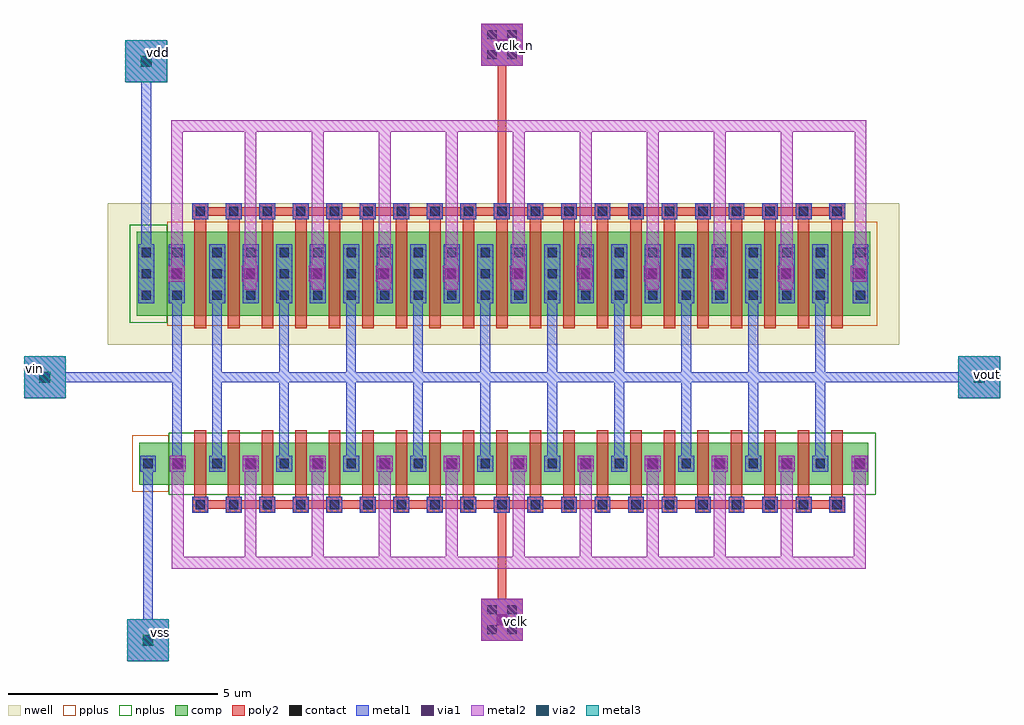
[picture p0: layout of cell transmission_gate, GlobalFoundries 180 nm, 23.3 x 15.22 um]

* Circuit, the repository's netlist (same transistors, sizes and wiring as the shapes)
** sch_path: /foss/designs/chipathon-2026-ti-adc/analog/blocks/transmission_gate/transmission_gate.sch
.subckt transmission_gate vdd vout vclk_n vclk vin vss
*.PININFO vclk:I vin:I vdd:B vss:B vout:O vclk_n:I
M1 vout vclk vin vss nfet_03v3 L=0.28u W=20u nf=20
M2 vout vclk_n vin vdd pfet_03v3 L=0.28u W=40u nf=40
.ends

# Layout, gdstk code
from math import pi, radians
import gdstk
lib = gdstk.Library(unit=1e-6, precision=5e-09)
def R(c, l, rs):  # rectangles x0, y0, x1, y1
    for r in rs: c.add(gdstk.rectangle(r[:2], r[2:], *l))
def A(c, l, x, y, w, h, nx, ny, dx, dy):  # array of equal rectangles
    R(c, l, [(x+i*dx, y+j*dy, x+i*dx+w, y+j*dy+h) for i in range(nx) for j in range(ny)])
nwell = (21, 0)
comp = (22, 0)
poly2 = (30, 0)
pplus = (31, 0)
nplus = (32, 0)
contact = (33, 0)
metal1 = (34, 0)
via1 = (35, 0)
metal2 = (36, 0)
via2 = (38, 0)
metal3 = (42, 0)

pfet = lib.new_cell('pfet')
R(pfet, nwell, [(-1.15,-0.69,17.74,2.69)])
R(pfet, comp, [(-0.46,0,0,2), (0,0,15.86,2), (15.86,0,16.32,2), (16.32,0,17.05,2)])
A(pfet, poly2, 0.14, -0.68, 0.38, 0.38, 20, 1, 0.8, 0)
A(pfet, poly2, 0.19, -0.3, 0.28, 2.6, 20, 1, 0.8, 0)
R(pfet, pplus, [(-0.63,-0.24,16.32,2.24)])
R(pfet, nplus, [(16.32,-0.17,17.22,2.17)])
A(pfet, contact, 0.22, -0.6, 0.22, 0.22, 20, 1, 0.8, 0)
A(pfet, contact, -0.34, 0.38, 0.22, 0.22, 1, 3, 0, 0.51)
A(pfet, contact, 0.62, 0.38, 0.22, 0.22, 19, 3, 0.8, 0.51)
A(pfet, contact, 15.98, 0.38, 0.22, 0.22, 1, 3, 0, 0.51)
A(pfet, contact, 16.71, 0.38, 0.22, 0.22, 1, 3, 0, 0.51)
A(pfet, metal1, 0.14, -0.68, 0.38, 0.38, 20, 1, 0.8, 0)
A(pfet, metal1, 0.54, 0.3, 0.38, 1.4, 19, 1, 0.8, 0)
R(pfet, metal1, [(-0.42,0.3,-0.04,1.7), (15.9,0.3,16.28,1.7), (16.63,0.3,17.01,1.7)])

via_dev = lib.new_cell('via_dev')
R(via_dev, poly2, [(0,0,1,1)])
R(via_dev, contact, [(0.15,0.15,0.37,0.37), (0.63,0.15,0.85,0.37), (0.15,0.63,0.37,0.85), (0.63,0.63,0.85,0.85)])
R(via_dev, metal1, [(0,0,1,1)])
R(via_dev, via1, [(0.37,0.37,0.63,0.63)])
R(via_dev, metal2, [(0,0,1,1)])

via_dev_3 = lib.new_cell('via_dev$3')
R(via_dev_3, metal1, [(0,0,1,1)])
R(via_dev_3, via1, [(0.37,0.37,0.63,0.63)])
R(via_dev_3, metal2, [(0,0,1,1)])
R(via_dev_3, via2, [(0.37,0.37,0.63,0.63)])
R(via_dev_3, metal3, [(0,0,1,1)])

nfet = lib.new_cell('nfet')
R(nfet, comp, [(-0.42,0,0,1), (0,0,15.86,1), (15.86,0,16.28,1), (16.28,0,16.99,1)])
A(nfet, poly2, 0.19, -0.3, 0.28, 1.6, 20, 1, 0.8, 0)
A(nfet, poly2, 0.15, 1.3, 0.36, 0.36, 20, 1, 0.8, 0)
R(nfet, pplus, [(16.28,-0.17,17.16,1.17)])
R(nfet, nplus, [(-0.59,-0.24,16.28,1.24)])
A(nfet, contact, 0.62, 0.39, 0.22, 0.22, 19, 1, 0.8, 0)
A(nfet, contact, 0.22, 1.37, 0.22, 0.22, 20, 1, 0.8, 0)
R(nfet, contact, [(-0.32,0.39,-0.1,0.61), (15.96,0.39,16.18,0.61), (16.67,0.39,16.89,0.61)])
A(nfet, metal1, 0.54, 0.31, 0.38, 0.38, 19, 1, 0.8, 0)
A(nfet, metal1, 0.14, 1.29, 0.38, 0.38, 20, 1, 0.8, 0)
R(nfet, metal1, [(-0.4,0.31,-0.02,0.69), (15.88,0.31,16.26,0.69), (16.59,0.31,16.97,0.69)])

transmission_gate = lib.new_cell('transmission_gate')
R(transmission_gate, poly2, [(10.76,-6.21,11.12,-5.85)])
R(transmission_gate, via1, [(3.07,-5.18,3.33,-4.92), (3.07,-5.18,3.33,-4.92), (3.07,-5.18,3.33,-4.92), (3.07,-5.18,3.33,-4.92), (4.81,-5.18,5.07,-4.92), (4.81,-5.18,5.07,-4.92), (4.81,-5.18,5.07,-4.92), (4.81,-5.18,5.07,-4.92), (4.81,-5.18,5.07,-4.92), (4.81,-5.18,5.07,-4.92), (4.81,-5.18,5.07,-4.92), (4.81,-5.18,5.07,-4.92), (4.81,-5.18,5.07,-4.92), (4.81,-5.18,5.07,-4.92), (4.81,-5.18,5.07,-4.92), (4.81,-5.18,5.07,-4.92), (4.81,-5.18,5.07,-4.92), (4.81,-5.18,5.07,-4.92), (4.81,-5.18,5.07,-4.92), (4.81,-5.18,5.07,-4.92), (4.81,-5.18,5.07,-4.92), (4.81,-5.18,5.07,-4.92), (4.81,-5.18,5.07,-4.92), (4.81,-5.18,5.07,-4.92), (4.81,-5.18,5.07,-4.92), (4.81,-5.18,5.07,-4.92), (4.81,-5.18,5.07,-4.92), (4.81,-5.18,5.07,-4.92), (4.81,-5.18,5.07,-4.92), (4.81,-5.18,5.07,-4.92), (4.81,-5.18,5.07,-4.92), (4.81,-5.18,5.07,-4.92), (4.81,-5.18,5.07,-4.92), (4.81,-5.18,5.07,-4.92), (4.81,-5.18,5.07,-4.92), (4.81,-5.18,5.07,-4.92), (4.81,-5.18,5.07,-4.92), (4.81,-5.18,5.07,-4.92), (4.81,-5.18,5.07,-4.92), (4.81,-5.18,5.07,-4.92), (4.81,-5.18,5.07,-4.92), (4.81,-5.18,5.07,-4.92), (4.81,-5.18,5.07,-4.92), (4.81,-5.18,5.07,-4.92), (4.81,-5.18,5.07,-4.92), (4.81,-5.18,5.07,-4.92), (4.81,-5.18,5.07,-4.92), (4.81,-5.18,5.07,-4.92), (4.81,-5.18,5.07,-4.92), (4.81,-5.18,5.07,-4.92), (4.81,-5.18,5.07,-4.92), (4.81,-5.18,5.07,-4.92), (6.41,-5.18,6.67,-4.92), (6.41,-5.18,6.67,-4.92), (6.41,-5.18,6.67,-4.92), (6.41,-5.18,6.67,-4.92), (6.41,-5.18,6.67,-4.92), (6.41,-5.18,6.67,-4.92), (6.41,-5.18,6.67,-4.92), (6.41,-5.18,6.67,-4.92), (6.41,-5.18,6.67,-4.92), (6.41,-5.18,6.67,-4.92), (6.41,-5.18,6.67,-4.92), (6.41,-5.18,6.67,-4.92), (6.41,-5.18,6.67,-4.92), (6.41,-5.18,6.67,-4.92), (6.41,-5.18,6.67,-4.92), (6.41,-5.18,6.67,-4.92), (6.41,-5.18,6.67,-4.92), (6.41,-5.18,6.67,-4.92), (6.41,-5.18,6.67,-4.92), (6.41,-5.18,6.67,-4.92), (6.41,-5.18,6.67,-4.92), (6.41,-5.18,6.67,-4.92), (6.41,-5.18,6.67,-4.92), (6.41,-5.18,6.67,-4.92), (8.01,-5.18,8.27,-4.92), (8.01,-5.18,8.27,-4.92), (8.01,-5.18,8.27,-4.92), (8.01,-5.18,8.27,-4.92), (8.01,-5.18,8.27,-4.92), (8.01,-5.18,8.27,-4.92), (8.01,-5.18,8.27,-4.92), (8.01,-5.18,8.27,-4.92), (8.01,-5.18,8.27,-4.92), (8.01,-5.18,8.27,-4.92), (8.01,-5.18,8.27,-4.92), (8.01,-5.18,8.27,-4.92), (8.01,-5.18,8.27,-4.92), (8.01,-5.18,8.27,-4.92), (8.01,-5.18,8.27,-4.92), (8.01,-5.18,8.27,-4.92), (8.01,-5.18,8.27,-4.92), (8.01,-5.18,8.27,-4.92), (8.01,-5.18,8.27,-4.92), (8.01,-5.18,8.27,-4.92), (8.01,-5.18,8.27,-4.92), (8.01,-5.18,8.27,-4.92), (8.01,-5.18,8.27,-4.92), (8.01,-5.18,8.27,-4.92), (9.61,-5.18,9.87,-4.92), (9.61,-5.18,9.87,-4.92), (9.61,-5.18,9.87,-4.92), (9.61,-5.18,9.87,-4.92), (9.61,-5.18,9.87,-4.92), (9.61,-5.18,9.87,-4.92), (9.61,-5.18,9.87,-4.92), (9.61,-5.18,9.87,-4.92), (9.61,-5.18,9.87,-4.92), (9.61,-5.18,9.87,-4.92), (9.61,-5.18,9.87,-4.92), (9.61,-5.18,9.87,-4.92), (11.21,-5.18,11.47,-4.92), (11.21,-5.18,11.47,-4.92), (11.21,-5.18,11.47,-4.92), (11.21,-5.18,11.47,-4.92), (11.21,-5.18,11.47,-4.92), (11.21,-5.18,11.47,-4.92), (11.21,-5.18,11.47,-4.92), (11.21,-5.18,11.47,-4.92), (11.21,-5.18,11.47,-4.92), (11.21,-5.18,11.47,-4.92), (11.21,-5.18,11.47,-4.92), (11.21,-5.18,11.47,-4.92), (11.21,-5.18,11.47,-4.92), (11.21,-5.18,11.47,-4.92), (11.21,-5.18,11.47,-4.92), (11.21,-5.18,11.47,-4.92), (11.21,-5.18,11.47,-4.92), (11.21,-5.18,11.47,-4.92), (11.21,-5.18,11.47,-4.92), (11.21,-5.18,11.47,-4.92), (11.21,-5.18,11.47,-4.92), (11.21,-5.18,11.47,-4.92), (11.21,-5.18,11.47,-4.92), (11.21,-5.18,11.47,-4.92), (11.21,-5.18,11.47,-4.92), (11.21,-5.18,11.47,-4.92), (11.21,-5.18,11.47,-4.92), (11.21,-5.18,11.47,-4.92), (11.21,-5.18,11.47,-4.92), (11.21,-5.18,11.47,-4.92), (11.21,-5.18,11.47,-4.92), (11.21,-5.18,11.47,-4.92), (11.21,-5.18,11.47,-4.92), (11.21,-5.18,11.47,-4.92), (11.21,-5.18,11.47,-4.92), (11.21,-5.18,11.47,-4.92), (11.21,-5.18,11.47,-4.92), (11.21,-5.18,11.47,-4.92), (11.21,-5.18,11.47,-4.92), (11.21,-5.18,11.47,-4.92), (11.21,-5.18,11.47,-4.92), (11.21,-5.18,11.47,-4.92), (11.21,-5.18,11.47,-4.92), (11.21,-5.18,11.47,-4.92), (11.21,-5.18,11.47,-4.92), (11.21,-5.18,11.47,-4.92), (11.21,-5.18,11.47,-4.92), (11.21,-5.18,11.47,-4.92), (12.81,-5.18,13.07,-4.92), (12.81,-5.18,13.07,-4.92), (12.81,-5.18,13.07,-4.92), (12.81,-5.18,13.07,-4.92), (12.81,-5.18,13.07,-4.92), (12.81,-5.18,13.07,-4.92), (12.81,-5.18,13.07,-4.92), (12.81,-5.18,13.07,-4.92), (12.81,-5.18,13.07,-4.92), (12.81,-5.18,13.07,-4.92), (12.81,-5.18,13.07,-4.92), (12.81,-5.18,13.07,-4.92), (12.81,-5.18,13.07,-4.92), (12.81,-5.18,13.07,-4.92), (12.81,-5.18,13.07,-4.92), (12.81,-5.18,13.07,-4.92), (12.81,-5.18,13.07,-4.92), (12.81,-5.18,13.07,-4.92), (12.81,-5.18,13.07,-4.92), (12.81,-5.18,13.07,-4.92), (12.81,-5.18,13.07,-4.92), (12.81,-5.18,13.07,-4.92), (12.81,-5.18,13.07,-4.92), (12.81,-5.18,13.07,-4.92), (14.41,-5.18,14.67,-4.92), (14.41,-5.18,14.67,-4.92), (14.41,-5.18,14.67,-4.92), (14.41,-5.18,14.67,-4.92), (14.41,-5.18,14.67,-4.92), (14.41,-5.18,14.67,-4.92), (14.41,-5.18,14.67,-4.92), (14.41,-5.18,14.67,-4.92), (14.41,-5.18,14.67,-4.92), (14.41,-5.18,14.67,-4.92), (14.41,-5.18,14.67,-4.92), (14.41,-5.18,14.67,-4.92), (14.41,-5.18,14.67,-4.92), (14.41,-5.18,14.67,-4.92), (14.41,-5.18,14.67,-4.92), (14.41,-5.18,14.67,-4.92), (14.41,-5.18,14.67,-4.92), (14.41,-5.18,14.67,-4.92), (14.41,-5.18,14.67,-4.92), (14.41,-5.18,14.67,-4.92), (14.41,-5.18,14.67,-4.92), (14.41,-5.18,14.67,-4.92), (14.41,-5.18,14.67,-4.92), (14.41,-5.18,14.67,-4.92), (14.41,-5.18,14.67,-4.92), (14.41,-5.18,14.67,-4.92), (14.41,-5.18,14.67,-4.92), (14.41,-5.18,14.67,-4.92), (14.41,-5.18,14.67,-4.92), (14.41,-5.18,14.67,-4.92), (14.41,-5.18,14.67,-4.92), (14.41,-5.18,14.67,-4.92), (14.41,-5.18,14.67,-4.92), (14.41,-5.18,14.67,-4.92), (14.41,-5.18,14.67,-4.92), (14.41,-5.18,14.67,-4.92), (14.41,-5.18,14.67,-4.92), (14.41,-5.18,14.67,-4.92), (14.41,-5.18,14.67,-4.92), (14.41,-5.18,14.67,-4.92), (14.41,-5.18,14.67,-4.92), (14.41,-5.18,14.67,-4.92), (14.41,-5.18,14.67,-4.92), (14.41,-5.18,14.67,-4.92), (14.41,-5.18,14.67,-4.92), (14.41,-5.18,14.67,-4.92), (14.41,-5.18,14.67,-4.92), (14.41,-5.18,14.67,-4.92), (16.01,-5.18,16.27,-4.92), (16.01,-5.18,16.27,-4.92), (16.01,-5.18,16.27,-4.92), (16.01,-5.18,16.27,-4.92), (16.01,-5.18,16.27,-4.92), (16.01,-5.18,16.27,-4.92), (16.01,-5.18,16.27,-4.92), (16.01,-5.18,16.27,-4.92), (16.01,-5.18,16.27,-4.92), (16.01,-5.18,16.27,-4.92), (16.01,-5.18,16.27,-4.92), (16.01,-5.18,16.27,-4.92), (16.01,-5.18,16.27,-4.92), (16.01,-5.18,16.27,-4.92), (16.01,-5.18,16.27,-4.92), (16.01,-5.18,16.27,-4.92), (16.01,-5.18,16.27,-4.92), (16.01,-5.18,16.27,-4.92), (16.01,-5.18,16.27,-4.92), (16.01,-5.18,16.27,-4.92), (16.01,-5.18,16.27,-4.92), (16.01,-5.18,16.27,-4.92), (16.01,-5.18,16.27,-4.92), (16.01,-5.18,16.27,-4.92), (17.61,-5.18,17.87,-4.92), (17.61,-5.18,17.87,-4.92), (17.61,-5.18,17.87,-4.92), (17.61,-5.18,17.87,-4.92), (17.61,-5.18,17.87,-4.92), (17.61,-5.18,17.87,-4.92), (17.61,-5.18,17.87,-4.92), (17.61,-5.18,17.87,-4.92), (17.61,-5.18,17.87,-4.92), (17.61,-5.18,17.87,-4.92), (17.61,-5.18,17.87,-4.92), (17.61,-5.18,17.87,-4.92), (17.61,-5.18,17.87,-4.92), (17.61,-5.18,17.87,-4.92), (17.61,-5.18,17.87,-4.92), (17.61,-5.18,17.87,-4.92), (17.61,-5.18,17.87,-4.92), (17.61,-5.18,17.87,-4.92), (17.61,-5.18,17.87,-4.92), (17.61,-5.18,17.87,-4.92), (17.61,-5.18,17.87,-4.92), (17.61,-5.18,17.87,-4.92), (17.61,-5.18,17.87,-4.92), (17.61,-5.18,17.87,-4.92), (19.35,-5.18,19.61,-4.92), (19.35,-5.18,19.61,-4.92), (19.35,-5.18,19.61,-4.92), (19.35,-5.18,19.61,-4.92), (19.35,-5.18,19.61,-4.92), (19.35,-5.18,19.61,-4.92), (19.35,-5.18,19.61,-4.92), (19.35,-5.18,19.61,-4.92), (19.35,-5.18,19.61,-4.92), (19.35,-5.18,19.61,-4.92), (19.35,-5.18,19.61,-4.92), (19.35,-5.18,19.61,-4.92), (3.05,-0.65,3.31,-0.39), (3.05,-0.65,3.31,-0.39), (4.79,-0.65,5.05,-0.39), (4.79,-0.65,5.05,-0.39), (4.79,-0.65,5.05,-0.39), (4.79,-0.65,5.05,-0.39), (4.79,-0.65,5.05,-0.39), (4.79,-0.65,5.05,-0.39), (4.79,-0.65,5.05,-0.39), (4.79,-0.65,5.05,-0.39), (4.79,-0.65,5.05,-0.39), (4.79,-0.65,5.05,-0.39), (4.79,-0.65,5.05,-0.39), (4.79,-0.65,5.05,-0.39), (4.79,-0.65,5.05,-0.39), (4.79,-0.65,5.05,-0.39), (4.79,-0.65,5.05,-0.39), (4.79,-0.65,5.05,-0.39), (4.79,-0.65,5.05,-0.39), (4.79,-0.65,5.05,-0.39), (4.79,-0.65,5.05,-0.39), (4.79,-0.65,5.05,-0.39), (4.79,-0.65,5.05,-0.39), (4.79,-0.65,5.05,-0.39), (4.79,-0.65,5.05,-0.39), (4.79,-0.65,5.05,-0.39), (6.39,-0.65,6.65,-0.39), (6.39,-0.65,6.65,-0.39), (6.39,-0.65,6.65,-0.39), (6.39,-0.65,6.65,-0.39), (6.39,-0.65,6.65,-0.39), (6.39,-0.65,6.65,-0.39), (6.39,-0.65,6.65,-0.39), (6.39,-0.65,6.65,-0.39), (6.39,-0.65,6.65,-0.39), (6.39,-0.65,6.65,-0.39), (6.39,-0.65,6.65,-0.39), (6.39,-0.65,6.65,-0.39), (7.99,-0.65,8.25,-0.39), (7.99,-0.65,8.25,-0.39), (7.99,-0.65,8.25,-0.39), (7.99,-0.65,8.25,-0.39), (7.99,-0.65,8.25,-0.39), (7.99,-0.65,8.25,-0.39), (7.99,-0.65,8.25,-0.39), (7.99,-0.65,8.25,-0.39), (7.99,-0.65,8.25,-0.39), (7.99,-0.65,8.25,-0.39), (7.99,-0.65,8.25,-0.39), (7.99,-0.65,8.25,-0.39), (9.59,-0.65,9.85,-0.39), (9.59,-0.65,9.85,-0.39), (9.59,-0.65,9.85,-0.39), (9.59,-0.65,9.85,-0.39), (9.59,-0.65,9.85,-0.39), (9.59,-0.65,9.85,-0.39), (11.19,-0.65,11.45,-0.39), (11.19,-0.65,11.45,-0.39), (11.19,-0.65,11.45,-0.39), (11.19,-0.65,11.45,-0.39), (11.19,-0.65,11.45,-0.39), (11.19,-0.65,11.45,-0.39), (11.19,-0.65,11.45,-0.39), (11.19,-0.65,11.45,-0.39), (11.19,-0.65,11.45,-0.39), (11.19,-0.65,11.45,-0.39), (11.19,-0.65,11.45,-0.39), (11.19,-0.65,11.45,-0.39), (11.19,-0.65,11.45,-0.39), (11.19,-0.65,11.45,-0.39), (11.19,-0.65,11.45,-0.39), (11.19,-0.65,11.45,-0.39), (11.19,-0.65,11.45,-0.39), (11.19,-0.65,11.45,-0.39), (11.19,-0.65,11.45,-0.39), (11.19,-0.65,11.45,-0.39), (11.19,-0.65,11.45,-0.39), (11.19,-0.65,11.45,-0.39), (11.19,-0.65,11.45,-0.39), (11.19,-0.65,11.45,-0.39), (12.79,-0.65,13.05,-0.39), (12.79,-0.65,13.05,-0.39), (12.79,-0.65,13.05,-0.39), (12.79,-0.65,13.05,-0.39), (12.79,-0.65,13.05,-0.39), (12.79,-0.65,13.05,-0.39), (12.79,-0.65,13.05,-0.39), (12.79,-0.65,13.05,-0.39), (12.79,-0.65,13.05,-0.39), (12.79,-0.65,13.05,-0.39), (12.79,-0.65,13.05,-0.39), (12.79,-0.65,13.05,-0.39), (14.39,-0.65,14.65,-0.39), (14.39,-0.65,14.65,-0.39), (14.39,-0.65,14.65,-0.39), (14.39,-0.65,14.65,-0.39), (14.39,-0.65,14.65,-0.39), (14.39,-0.65,14.65,-0.39), (14.39,-0.65,14.65,-0.39), (14.39,-0.65,14.65,-0.39), (14.39,-0.65,14.65,-0.39), (14.39,-0.65,14.65,-0.39), (14.39,-0.65,14.65,-0.39), (14.39,-0.65,14.65,-0.39), (14.39,-0.65,14.65,-0.39), (14.39,-0.65,14.65,-0.39), (14.39,-0.65,14.65,-0.39), (14.39,-0.65,14.65,-0.39), (14.39,-0.65,14.65,-0.39), (14.39,-0.65,14.65,-0.39), (14.39,-0.65,14.65,-0.39), (14.39,-0.65,14.65,-0.39), (14.39,-0.65,14.65,-0.39), (14.39,-0.65,14.65,-0.39), (14.39,-0.65,14.65,-0.39), (14.39,-0.65,14.65,-0.39), (15.99,-0.65,16.25,-0.39), (15.99,-0.65,16.25,-0.39), (15.99,-0.65,16.25,-0.39), (15.99,-0.65,16.25,-0.39), (15.99,-0.65,16.25,-0.39), (15.99,-0.65,16.25,-0.39), (15.99,-0.65,16.25,-0.39), (15.99,-0.65,16.25,-0.39), (15.99,-0.65,16.25,-0.39), (15.99,-0.65,16.25,-0.39), (15.99,-0.65,16.25,-0.39), (15.99,-0.65,16.25,-0.39), (17.59,-0.65,17.85,-0.39), (17.59,-0.65,17.85,-0.39), (17.59,-0.65,17.85,-0.39), (17.59,-0.65,17.85,-0.39), (17.59,-0.65,17.85,-0.39), (17.59,-0.65,17.85,-0.39), (17.59,-0.65,17.85,-0.39), (17.59,-0.65,17.85,-0.39), (17.59,-0.65,17.85,-0.39), (17.59,-0.65,17.85,-0.39), (17.59,-0.65,17.85,-0.39), (17.59,-0.65,17.85,-0.39), (19.33,-0.65,19.59,-0.39), (19.33,-0.65,19.59,-0.39), (19.33,-0.65,19.59,-0.39), (19.33,-0.65,19.59,-0.39), (19.33,-0.65,19.59,-0.39), (19.33,-0.65,19.59,-0.39)])
R(transmission_gate, metal2, [(3.01,-5.24,3.39,-4.86), (3.01,-5.24,3.39,-4.86), (3.01,-5.24,3.39,-4.86), (3.01,-5.24,3.39,-4.86), (4.75,-5.24,5.13,-4.86), (4.75,-5.24,5.13,-4.86), (4.75,-5.24,5.13,-4.86), (4.75,-5.24,5.13,-4.86), (4.75,-5.24,5.13,-4.86), (4.75,-5.24,5.13,-4.86), (4.75,-5.24,5.13,-4.86), (4.75,-5.24,5.13,-4.86), (4.75,-5.24,5.13,-4.86), (4.75,-5.24,5.13,-4.86), (4.75,-5.24,5.13,-4.86), (4.75,-5.24,5.13,-4.86), (4.75,-5.24,5.13,-4.86), (4.75,-5.24,5.13,-4.86), (4.75,-5.24,5.13,-4.86), (4.75,-5.24,5.13,-4.86), (4.75,-5.24,5.13,-4.86), (4.75,-5.24,5.13,-4.86), (4.75,-5.24,5.13,-4.86), (4.75,-5.24,5.13,-4.86), (4.75,-5.24,5.13,-4.86), (4.75,-5.24,5.13,-4.86), (4.75,-5.24,5.13,-4.86), (4.75,-5.24,5.13,-4.86), (4.75,-5.24,5.13,-4.86), (4.75,-5.24,5.13,-4.86), (4.75,-5.24,5.13,-4.86), (4.75,-5.24,5.13,-4.86), (4.75,-5.24,5.13,-4.86), (4.75,-5.24,5.13,-4.86), (4.75,-5.24,5.13,-4.86), (4.75,-5.24,5.13,-4.86), (4.75,-5.24,5.13,-4.86), (4.75,-5.24,5.13,-4.86), (4.75,-5.24,5.13,-4.86), (4.75,-5.24,5.13,-4.86), (4.75,-5.24,5.13,-4.86), (4.75,-5.24,5.13,-4.86), (4.75,-5.24,5.13,-4.86), (4.75,-5.24,5.13,-4.86), (4.75,-5.24,5.13,-4.86), (4.75,-5.24,5.13,-4.86), (4.75,-5.24,5.13,-4.86), (4.75,-5.24,5.13,-4.86), (4.75,-5.24,5.13,-4.86), (4.75,-5.24,5.13,-4.86), (4.75,-5.24,5.13,-4.86), (4.75,-5.24,5.13,-4.86), (6.35,-5.24,6.73,-4.86), (6.35,-5.24,6.73,-4.86), (6.35,-5.24,6.73,-4.86), (6.35,-5.24,6.73,-4.86), (6.35,-5.24,6.73,-4.86), (6.35,-5.24,6.73,-4.86), (6.35,-5.24,6.73,-4.86), (6.35,-5.24,6.73,-4.86), (6.35,-5.24,6.73,-4.86), (6.35,-5.24,6.73,-4.86), (6.35,-5.24,6.73,-4.86), (6.35,-5.24,6.73,-4.86), (6.35,-5.24,6.73,-4.86), (6.35,-5.24,6.73,-4.86), (6.35,-5.24,6.73,-4.86), (6.35,-5.24,6.73,-4.86), (6.35,-5.24,6.73,-4.86), (6.35,-5.24,6.73,-4.86), (6.35,-5.24,6.73,-4.86), (6.35,-5.24,6.73,-4.86), (6.35,-5.24,6.73,-4.86), (6.35,-5.24,6.73,-4.86), (6.35,-5.24,6.73,-4.86), (6.35,-5.24,6.73,-4.86), (7.95,-5.24,8.33,-4.86), (7.95,-5.24,8.33,-4.86), (7.95,-5.24,8.33,-4.86), (7.95,-5.24,8.33,-4.86), (7.95,-5.24,8.33,-4.86), (7.95,-5.24,8.33,-4.86), (7.95,-5.24,8.33,-4.86), (7.95,-5.24,8.33,-4.86), (7.95,-5.24,8.33,-4.86), (7.95,-5.24,8.33,-4.86), (7.95,-5.24,8.33,-4.86), (7.95,-5.24,8.33,-4.86), (7.95,-5.24,8.33,-4.86), (7.95,-5.24,8.33,-4.86), (7.95,-5.24,8.33,-4.86), (7.95,-5.24,8.33,-4.86), (7.95,-5.24,8.33,-4.86), (7.95,-5.24,8.33,-4.86), (7.95,-5.24,8.33,-4.86), (7.95,-5.24,8.33,-4.86), (7.95,-5.24,8.33,-4.86), (7.95,-5.24,8.33,-4.86), (7.95,-5.24,8.33,-4.86), (7.95,-5.24,8.33,-4.86), (9.55,-5.24,9.93,-4.86), (9.55,-5.24,9.93,-4.86), (9.55,-5.24,9.93,-4.86), (9.55,-5.24,9.93,-4.86), (9.55,-5.24,9.93,-4.86), (9.55,-5.24,9.93,-4.86), (9.55,-5.24,9.93,-4.86), (9.55,-5.24,9.93,-4.86), (9.55,-5.24,9.93,-4.86), (9.55,-5.24,9.93,-4.86), (9.55,-5.24,9.93,-4.86), (9.55,-5.24,9.93,-4.86), (11.15,-5.24,11.53,-4.86), (11.15,-5.24,11.53,-4.86), (11.15,-5.24,11.53,-4.86), (11.15,-5.24,11.53,-4.86), (11.15,-5.24,11.53,-4.86), (11.15,-5.24,11.53,-4.86), (11.15,-5.24,11.53,-4.86), (11.15,-5.24,11.53,-4.86), (11.15,-5.24,11.53,-4.86), (11.15,-5.24,11.53,-4.86), (11.15,-5.24,11.53,-4.86), (11.15,-5.24,11.53,-4.86), (11.15,-5.24,11.53,-4.86), (11.15,-5.24,11.53,-4.86), (11.15,-5.24,11.53,-4.86), (11.15,-5.24,11.53,-4.86), (11.15,-5.24,11.53,-4.86), (11.15,-5.24,11.53,-4.86), (11.15,-5.24,11.53,-4.86), (11.15,-5.24,11.53,-4.86), (11.15,-5.24,11.53,-4.86), (11.15,-5.24,11.53,-4.86), (11.15,-5.24,11.53,-4.86), (11.15,-5.24,11.53,-4.86), (11.15,-5.24,11.53,-4.86), (11.15,-5.24,11.53,-4.86), (11.15,-5.24,11.53,-4.86), (11.15,-5.24,11.53,-4.86), (11.15,-5.24,11.53,-4.86), (11.15,-5.24,11.53,-4.86), (11.15,-5.24,11.53,-4.86), (11.15,-5.24,11.53,-4.86), (11.15,-5.24,11.53,-4.86), (11.15,-5.24,11.53,-4.86), (11.15,-5.24,11.53,-4.86), (11.15,-5.24,11.53,-4.86), (11.15,-5.24,11.53,-4.86), (11.15,-5.24,11.53,-4.86), (11.15,-5.24,11.53,-4.86), (11.15,-5.24,11.53,-4.86), (11.15,-5.24,11.53,-4.86), (11.15,-5.24,11.53,-4.86), (11.15,-5.24,11.53,-4.86), (11.15,-5.24,11.53,-4.86), (11.15,-5.24,11.53,-4.86), (11.15,-5.24,11.53,-4.86), (11.15,-5.24,11.53,-4.86), (11.15,-5.24,11.53,-4.86), (12.75,-5.24,13.13,-4.86), (12.75,-5.24,13.13,-4.86), (12.75,-5.24,13.13,-4.86), (12.75,-5.24,13.13,-4.86), (12.75,-5.24,13.13,-4.86), (12.75,-5.24,13.13,-4.86), (12.75,-5.24,13.13,-4.86), (12.75,-5.24,13.13,-4.86), (12.75,-5.24,13.13,-4.86), (12.75,-5.24,13.13,-4.86), (12.75,-5.24,13.13,-4.86), (12.75,-5.24,13.13,-4.86), (12.75,-5.24,13.13,-4.86), (12.75,-5.24,13.13,-4.86), (12.75,-5.24,13.13,-4.86), (12.75,-5.24,13.13,-4.86), (12.75,-5.24,13.13,-4.86), (12.75,-5.24,13.13,-4.86), (12.75,-5.24,13.13,-4.86), (12.75,-5.24,13.13,-4.86), (12.75,-5.24,13.13,-4.86), (12.75,-5.24,13.13,-4.86), (12.75,-5.24,13.13,-4.86), (12.75,-5.24,13.13,-4.86), (14.35,-5.24,14.73,-4.86), (14.35,-5.24,14.73,-4.86), (14.35,-5.24,14.73,-4.86), (14.35,-5.24,14.73,-4.86), (14.35,-5.24,14.73,-4.86), (14.35,-5.24,14.73,-4.86), (14.35,-5.24,14.73,-4.86), (14.35,-5.24,14.73,-4.86), (14.35,-5.24,14.73,-4.86), (14.35,-5.24,14.73,-4.86), (14.35,-5.24,14.73,-4.86), (14.35,-5.24,14.73,-4.86), (14.35,-5.24,14.73,-4.86), (14.35,-5.24,14.73,-4.86), (14.35,-5.24,14.73,-4.86), (14.35,-5.24,14.73,-4.86), (14.35,-5.24,14.73,-4.86), (14.35,-5.24,14.73,-4.86), (14.35,-5.24,14.73,-4.86), (14.35,-5.24,14.73,-4.86), (14.35,-5.24,14.73,-4.86), (14.35,-5.24,14.73,-4.86), (14.35,-5.24,14.73,-4.86), (14.35,-5.24,14.73,-4.86), (14.35,-5.24,14.73,-4.86), (14.35,-5.24,14.73,-4.86), (14.35,-5.24,14.73,-4.86), (14.35,-5.24,14.73,-4.86), (14.35,-5.24,14.73,-4.86), (14.35,-5.24,14.73,-4.86), (14.35,-5.24,14.73,-4.86), (14.35,-5.24,14.73,-4.86), (14.35,-5.24,14.73,-4.86), (14.35,-5.24,14.73,-4.86), (14.35,-5.24,14.73,-4.86), (14.35,-5.24,14.73,-4.86), (14.35,-5.24,14.73,-4.86), (14.35,-5.24,14.73,-4.86), (14.35,-5.24,14.73,-4.86), (14.35,-5.24,14.73,-4.86), (14.35,-5.24,14.73,-4.86), (14.35,-5.24,14.73,-4.86), (14.35,-5.24,14.73,-4.86), (14.35,-5.24,14.73,-4.86), (14.35,-5.24,14.73,-4.86), (14.35,-5.24,14.73,-4.86), (14.35,-5.24,14.73,-4.86), (14.35,-5.24,14.73,-4.86), (15.95,-5.24,16.33,-4.86), (15.95,-5.24,16.33,-4.86), (15.95,-5.24,16.33,-4.86), (15.95,-5.24,16.33,-4.86), (15.95,-5.24,16.33,-4.86), (15.95,-5.24,16.33,-4.86), (15.95,-5.24,16.33,-4.86), (15.95,-5.24,16.33,-4.86), (15.95,-5.24,16.33,-4.86), (15.95,-5.24,16.33,-4.86), (15.95,-5.24,16.33,-4.86), (15.95,-5.24,16.33,-4.86), (15.95,-5.24,16.33,-4.86), (15.95,-5.24,16.33,-4.86), (15.95,-5.24,16.33,-4.86), (15.95,-5.24,16.33,-4.86), (15.95,-5.24,16.33,-4.86), (15.95,-5.24,16.33,-4.86), (15.95,-5.24,16.33,-4.86), (15.95,-5.24,16.33,-4.86), (15.95,-5.24,16.33,-4.86), (15.95,-5.24,16.33,-4.86), (15.95,-5.24,16.33,-4.86), (15.95,-5.24,16.33,-4.86), (17.55,-5.24,17.93,-4.86), (17.55,-5.24,17.93,-4.86), (17.55,-5.24,17.93,-4.86), (17.55,-5.24,17.93,-4.86), (17.55,-5.24,17.93,-4.86), (17.55,-5.24,17.93,-4.86), (17.55,-5.24,17.93,-4.86), (17.55,-5.24,17.93,-4.86), (17.55,-5.24,17.93,-4.86), (17.55,-5.24,17.93,-4.86), (17.55,-5.24,17.93,-4.86), (17.55,-5.24,17.93,-4.86), (17.55,-5.24,17.93,-4.86), (17.55,-5.24,17.93,-4.86), (17.55,-5.24,17.93,-4.86), (17.55,-5.24,17.93,-4.86), (17.55,-5.24,17.93,-4.86), (17.55,-5.24,17.93,-4.86), (17.55,-5.24,17.93,-4.86), (17.55,-5.24,17.93,-4.86), (17.55,-5.24,17.93,-4.86), (17.55,-5.24,17.93,-4.86), (17.55,-5.24,17.93,-4.86), (17.55,-5.24,17.93,-4.86), (19.29,-5.24,19.67,-4.86), (19.29,-5.24,19.67,-4.86), (19.29,-5.24,19.67,-4.86), (19.29,-5.24,19.67,-4.86), (19.29,-5.24,19.67,-4.86), (19.29,-5.24,19.67,-4.86), (19.29,-5.24,19.67,-4.86), (19.29,-5.24,19.67,-4.86), (19.29,-5.24,19.67,-4.86), (19.29,-5.24,19.67,-4.86), (19.29,-5.24,19.67,-4.86), (19.29,-5.24,19.67,-4.86), (2.99,-0.71,3.37,-0.33), (2.99,-0.71,3.37,-0.33), (4.73,-0.71,5.11,-0.33), (4.73,-0.71,5.11,-0.33), (4.73,-0.71,5.11,-0.33), (4.73,-0.71,5.11,-0.33), (4.73,-0.71,5.11,-0.33), (4.73,-0.71,5.11,-0.33), (4.73,-0.71,5.11,-0.33), (4.73,-0.71,5.11,-0.33), (4.73,-0.71,5.11,-0.33), (4.73,-0.71,5.11,-0.33), (4.73,-0.71,5.11,-0.33), (4.73,-0.71,5.11,-0.33), (4.73,-0.71,5.11,-0.33), (4.73,-0.71,5.11,-0.33), (4.73,-0.71,5.11,-0.33), (4.73,-0.71,5.11,-0.33), (4.73,-0.71,5.11,-0.33), (4.73,-0.71,5.11,-0.33), (4.73,-0.71,5.11,-0.33), (4.73,-0.71,5.11,-0.33), (4.73,-0.71,5.11,-0.33), (4.73,-0.71,5.11,-0.33), (4.73,-0.71,5.11,-0.33), (4.73,-0.71,5.11,-0.33), (6.33,-0.71,6.71,-0.33), (6.33,-0.71,6.71,-0.33), (6.33,-0.71,6.71,-0.33), (6.33,-0.71,6.71,-0.33), (6.33,-0.71,6.71,-0.33), (6.33,-0.71,6.71,-0.33), (6.33,-0.71,6.71,-0.33), (6.33,-0.71,6.71,-0.33), (6.33,-0.71,6.71,-0.33), (6.33,-0.71,6.71,-0.33), (6.33,-0.71,6.71,-0.33), (6.33,-0.71,6.71,-0.33), (7.93,-0.71,8.31,-0.33), (7.93,-0.71,8.31,-0.33), (7.93,-0.71,8.31,-0.33), (7.93,-0.71,8.31,-0.33), (7.93,-0.71,8.31,-0.33), (7.93,-0.71,8.31,-0.33), (7.93,-0.71,8.31,-0.33), (7.93,-0.71,8.31,-0.33), (7.93,-0.71,8.31,-0.33), (7.93,-0.71,8.31,-0.33), (7.93,-0.71,8.31,-0.33), (7.93,-0.71,8.31,-0.33), (9.53,-0.71,9.91,-0.33), (9.53,-0.71,9.91,-0.33), (9.53,-0.71,9.91,-0.33), (9.53,-0.71,9.91,-0.33), (9.53,-0.71,9.91,-0.33), (9.53,-0.71,9.91,-0.33), (11.13,-0.71,11.51,-0.33), (11.13,-0.71,11.51,-0.33), (11.13,-0.71,11.51,-0.33), (11.13,-0.71,11.51,-0.33), (11.13,-0.71,11.51,-0.33), (11.13,-0.71,11.51,-0.33), (11.13,-0.71,11.51,-0.33), (11.13,-0.71,11.51,-0.33), (11.13,-0.71,11.51,-0.33), (11.13,-0.71,11.51,-0.33), (11.13,-0.71,11.51,-0.33), (11.13,-0.71,11.51,-0.33), (11.13,-0.71,11.51,-0.33), (11.13,-0.71,11.51,-0.33), (11.13,-0.71,11.51,-0.33), (11.13,-0.71,11.51,-0.33), (11.13,-0.71,11.51,-0.33), (11.13,-0.71,11.51,-0.33), (11.13,-0.71,11.51,-0.33), (11.13,-0.71,11.51,-0.33), (11.13,-0.71,11.51,-0.33), (11.13,-0.71,11.51,-0.33), (11.13,-0.71,11.51,-0.33), (11.13,-0.71,11.51,-0.33), (12.73,-0.71,13.11,-0.33), (12.73,-0.71,13.11,-0.33), (12.73,-0.71,13.11,-0.33), (12.73,-0.71,13.11,-0.33), (12.73,-0.71,13.11,-0.33), (12.73,-0.71,13.11,-0.33), (12.73,-0.71,13.11,-0.33), (12.73,-0.71,13.11,-0.33), (12.73,-0.71,13.11,-0.33), (12.73,-0.71,13.11,-0.33), (12.73,-0.71,13.11,-0.33), (12.73,-0.71,13.11,-0.33), (14.33,-0.71,14.71,-0.33), (14.33,-0.71,14.71,-0.33), (14.33,-0.71,14.71,-0.33), (14.33,-0.71,14.71,-0.33), (14.33,-0.71,14.71,-0.33), (14.33,-0.71,14.71,-0.33), (14.33,-0.71,14.71,-0.33), (14.33,-0.71,14.71,-0.33), (14.33,-0.71,14.71,-0.33), (14.33,-0.71,14.71,-0.33), (14.33,-0.71,14.71,-0.33), (14.33,-0.71,14.71,-0.33), (14.33,-0.71,14.71,-0.33), (14.33,-0.71,14.71,-0.33), (14.33,-0.71,14.71,-0.33), (14.33,-0.71,14.71,-0.33), (14.33,-0.71,14.71,-0.33), (14.33,-0.71,14.71,-0.33), (14.33,-0.71,14.71,-0.33), (14.33,-0.71,14.71,-0.33), (14.33,-0.71,14.71,-0.33), (14.33,-0.71,14.71,-0.33), (14.33,-0.71,14.71,-0.33), (14.33,-0.71,14.71,-0.33), (15.93,-0.71,16.31,-0.33), (15.93,-0.71,16.31,-0.33), (15.93,-0.71,16.31,-0.33), (15.93,-0.71,16.31,-0.33), (15.93,-0.71,16.31,-0.33), (15.93,-0.71,16.31,-0.33), (15.93,-0.71,16.31,-0.33), (15.93,-0.71,16.31,-0.33), (15.93,-0.71,16.31,-0.33), (15.93,-0.71,16.31,-0.33), (15.93,-0.71,16.31,-0.33), (15.93,-0.71,16.31,-0.33), (17.53,-0.71,17.91,-0.33), (17.53,-0.71,17.91,-0.33), (17.53,-0.71,17.91,-0.33), (17.53,-0.71,17.91,-0.33), (17.53,-0.71,17.91,-0.33), (17.53,-0.71,17.91,-0.33), (17.53,-0.71,17.91,-0.33), (17.53,-0.71,17.91,-0.33), (17.53,-0.71,17.91,-0.33), (17.53,-0.71,17.91,-0.33), (17.53,-0.71,17.91,-0.33), (17.53,-0.71,17.91,-0.33), (19.27,-0.71,19.65,-0.33), (19.27,-0.71,19.65,-0.33), (19.27,-0.71,19.65,-0.33), (19.27,-0.71,19.65,-0.33), (19.27,-0.71,19.65,-0.33), (19.27,-0.71,19.65,-0.33)])
transmission_gate.add(gdstk.FlexPath([(19.48,-5.05),(19.48,-7.42),(3.2,-7.42),(3.2,-5.05)], 0.28, ends="flush", simple_path=True, layer=36, datatype=0))  # metal2
transmission_gate.add(gdstk.FlexPath([(8.14,-5.05),(8.14,-7.42)], 0.28, ends="flush", simple_path=True, layer=36, datatype=0))  # metal2
transmission_gate.add(gdstk.FlexPath([(6.54,-5.05),(6.54,-7.42)], 0.28, ends="flush", simple_path=True, layer=36, datatype=0))  # metal2
transmission_gate.add(gdstk.FlexPath([(4.94,-5.05),(4.94,-7.42)], 0.28, ends="flush", simple_path=True, layer=36, datatype=0))  # metal2
transmission_gate.add(gdstk.FlexPath([(9.74,-5.05),(9.74,-7.42)], 0.28, ends="flush", simple_path=True, layer=36, datatype=0))  # metal2
transmission_gate.add(gdstk.FlexPath([(11.34,-5.05),(11.34,-7.42)], 0.28, ends="flush", simple_path=True, layer=36, datatype=0))  # metal2
transmission_gate.add(gdstk.FlexPath([(12.94,-5.05),(12.94,-7.42)], 0.28, ends="flush", simple_path=True, layer=36, datatype=0))  # metal2
transmission_gate.add(gdstk.FlexPath([(14.54,-5.05),(14.54,-7.42)], 0.28, ends="flush", simple_path=True, layer=36, datatype=0))  # metal2
transmission_gate.add(gdstk.FlexPath([(16.14,-5.05),(16.14,-7.42)], 0.28, ends="flush", simple_path=True, layer=36, datatype=0))  # metal2
transmission_gate.add(gdstk.FlexPath([(17.74,-5.05),(17.74,-7.42)], 0.28, ends="flush", simple_path=True, layer=36, datatype=0))  # metal2
transmission_gate.add(gdstk.FlexPath([(19.5,-0.52),(19.5,3.01),(3.18,3.01),(3.18,-0.52)], 0.28, ends="flush", simple_path=True, layer=36, datatype=0))  # metal2
transmission_gate.add(gdstk.FlexPath([(4.94,-0.905),(4.94,3.125)], 0.28, ends="flush", simple_path=True, layer=36, datatype=0))  # metal2
transmission_gate.add(gdstk.FlexPath([(6.54,-0.905),(6.54,3.125)], 0.28, ends="flush", simple_path=True, layer=36, datatype=0))  # metal2
transmission_gate.add(gdstk.FlexPath([(8.14,-0.905),(8.14,3.125)], 0.28, ends="flush", simple_path=True, layer=36, datatype=0))  # metal2
transmission_gate.add(gdstk.FlexPath([(9.74,-0.905),(9.74,3.125)], 0.28, ends="flush", simple_path=True, layer=36, datatype=0))  # metal2
transmission_gate.add(gdstk.FlexPath([(11.34,-0.905),(11.34,3.125)], 0.28, ends="flush", simple_path=True, layer=36, datatype=0))  # metal2
transmission_gate.add(gdstk.FlexPath([(12.94,-0.905),(12.94,3.01)], 0.28, ends="flush", simple_path=True, layer=36, datatype=0))  # metal2
transmission_gate.add(gdstk.FlexPath([(14.54,-0.905),(14.54,3.125)], 0.28, ends="flush", simple_path=True, layer=36, datatype=0))  # metal2
transmission_gate.add(gdstk.FlexPath([(16.14,-0.905),(16.14,3.125)], 0.28, ends="flush", simple_path=True, layer=36, datatype=0))  # metal2
transmission_gate.add(gdstk.FlexPath([(17.74,-0.905),(17.74,3.125)], 0.28, ends="flush", simple_path=True, layer=36, datatype=0))  # metal2
transmission_gate.add(gdstk.FlexPath([(3.18,-0.52),(3.18,-5.05)], 0.23, ends="flush", simple_path=True, layer=34, datatype=0))  # metal1
transmission_gate.add(gdstk.FlexPath([(3.18,-2.99),(0.03,-2.99)], 0.23, ends="flush", simple_path=True, layer=34, datatype=0))  # metal1
transmission_gate.add(gdstk.FlexPath([(2.45,-0.52),(2.45,4.55)], 0.23, ends="flush", simple_path=True, layer=34, datatype=0))  # metal1
transmission_gate.add(gdstk.FlexPath([(2.49,-5.05),(2.49,-9.27)], 0.23, ends="flush", simple_path=True, layer=34, datatype=0))  # metal1
transmission_gate.add(gdstk.FlexPath([(4.14,-5.05),(4.14,-0.52)], 0.23, ends="flush", simple_path=True, layer=34, datatype=0))  # metal1
transmission_gate.add(gdstk.FlexPath([(5.74,-0.52),(5.74,-5.05)], 0.23, ends="flush", simple_path=True, layer=34, datatype=0))  # metal1
transmission_gate.add(gdstk.FlexPath([(7.34,-5.05),(7.34,-0.52)], 0.23, ends="flush", simple_path=True, layer=34, datatype=0))  # metal1
transmission_gate.add(gdstk.FlexPath([(8.94,-0.52),(8.94,-5.05)], 0.23, ends="flush", simple_path=True, layer=34, datatype=0))  # metal1
transmission_gate.add(gdstk.FlexPath([(10.54,-5.05),(10.54,-0.52)], 0.23, ends="flush", simple_path=True, layer=34, datatype=0))  # metal1
transmission_gate.add(gdstk.FlexPath([(12.14,-0.52),(12.14,-5.16)], 0.23, ends="flush", simple_path=True, layer=34, datatype=0))  # metal1
transmission_gate.add(gdstk.FlexPath([(13.74,-5.05),(13.74,-0.63)], 0.23, ends="flush", simple_path=True, layer=34, datatype=0))  # metal1
transmission_gate.add(gdstk.FlexPath([(15.34,-0.52),(15.34,-5.16)], 0.23, ends="flush", simple_path=True, layer=34, datatype=0))  # metal1
transmission_gate.add(gdstk.FlexPath([(16.94,-5.05),(16.94,-0.63)], 0.23, ends="flush", simple_path=True, layer=34, datatype=0))  # metal1
transmission_gate.add(gdstk.FlexPath([(18.54,-0.52),(18.54,-5.05)], 0.23, ends="flush", simple_path=True, layer=34, datatype=0))  # metal1
transmission_gate.add(gdstk.FlexPath([(4.14,-2.99),(22.33,-2.99)], 0.23, ends="flush", simple_path=True, layer=34, datatype=0))  # metal1
transmission_gate.add(gdstk.FlexPath([(10.94,-6.03),(10.94,-8.78)], 0.2, ends="flush", simple_path=True, layer=30, datatype=0))  # poly2
transmission_gate.add(gdstk.FlexPath([(10.94,4.95),(10.94,0.97)], 0.2, ends="flush", simple_path=True, layer=30, datatype=0))  # poly2
transmission_gate.add(gdstk.FlexPath([(3.74,-6.03),(18.94,-6.03)], 0.2, ends="flush", simple_path=True, layer=30, datatype=0))  # poly2
transmission_gate.add(gdstk.FlexPath([(3.74,0.97),(18.94,0.97)], 0.2, ends="flush", simple_path=True, layer=30, datatype=0))  # poly2
transmission_gate.add(gdstk.Reference(pfet, (19.27,0.48), rotation=pi))
transmission_gate.add(gdstk.Reference(via_dev, (11.44,-8.28), rotation=pi))
transmission_gate.add(gdstk.Reference(via_dev, (11.44,-8.28), rotation=pi))
transmission_gate.add(gdstk.Reference(via_dev, (11.44,5.45), rotation=pi))
transmission_gate.add(gdstk.Reference(via_dev_3, (2.99,-8.77), rotation=pi))
transmission_gate.add(gdstk.Reference(via_dev_3, (0.53,-2.49), rotation=pi))
transmission_gate.add(gdstk.Reference(via_dev_3, (0.53,-2.49), rotation=pi))
transmission_gate.add(gdstk.Reference(via_dev_3, (2.95,5.05), rotation=pi))
transmission_gate.add(gdstk.Reference(via_dev_3, (22.83,-2.49), rotation=pi))
transmission_gate.add(gdstk.Reference(nfet, (19.27,-4.55), rotation=pi))
transmission_gate.add(gdstk.Label('vin', (-0.23,-2.78), layer=34, texttype=10))
transmission_gate.add(gdstk.Label('vss', (2.78,-9.08), layer=34, texttype=10))
transmission_gate.add(gdstk.Label('vdd', (2.73,4.76), layer=34, texttype=10))
transmission_gate.add(gdstk.Label('vclk_n', (11.23,4.93), layer=42, texttype=10))
transmission_gate.add(gdstk.Label('vclk', (11.27,-8.81), layer=42, texttype=10))
transmission_gate.add(gdstk.Label('vout', (22.54,-2.93), layer=42, texttype=10))

lib.write_gds('transmission_gate.gds')
